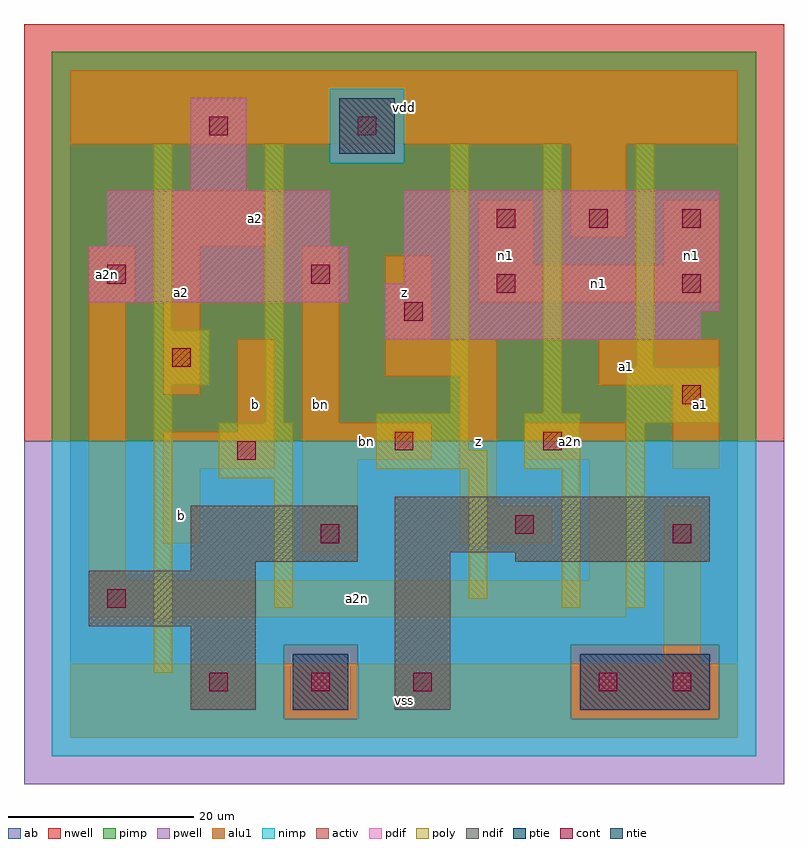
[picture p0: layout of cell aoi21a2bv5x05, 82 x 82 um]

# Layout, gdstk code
import gdstk
lib = gdstk.Library(unit=1e-6, precision=1e-09)
def R(c, l, rs):  # rectangles x0, y0, x1, y1
    for r in rs: c.add(gdstk.rectangle(r[:2], r[2:], *l))
def A(c, l, x, y, w, h, nx, ny, dx, dy):  # array of equal rectangles
    R(c, l, [(x+i*dx, y+j*dy, x+i*dx+w, y+j*dy+h) for i in range(nx) for j in range(ny)])
ndif = (3, 0)
pdif = (4, 0)
ntie = (5, 0)
ptie = (6, 0)
cont = (25, 0)
pwell = (41, 0)
nwell = (42, 0)
activ = (43, 0)
pimp = (44, 0)
nimp = (45, 0)
poly = (46, 0)
alu1 = (49, 0)
ab = (63, 0)

aoi21a2bv5x05 = lib.new_cell('aoi21a2bv5x05')
R(aoi21a2bv5x05, ndif, [(13,3,20,12), (35,3,41,20), (2,12,20,18), (13,18,20,19), (13,19,31,25), (48,19,69,20), (35,20,69,26)])
R(aoi21a2bv5x05, pdif, [(34,43,68,46), (34,46,70,49), (2,47,30,53), (36,49,70,59), (4,53,28,59), (13,59,19,69)])
R(aoi21a2bv5x05, ntie, [(29,63,35,69)])
R(aoi21a2bv5x05, ptie, [(24,3,30,9), (55,3,69,9)])
A(aoi21a2bv5x05, cont, 15, 5, 2, 2, 3, 1, 11, 0)
A(aoi21a2bv5x05, cont, 46, 55, 2, 2, 3, 1, 10, 0)
R(aoi21a2bv5x05, cont, [(57,5,59,7), (65,5,67,7), (4,14,6,16), (27,21,29,23), (65,21,67,23), (48,22,50,24), (18,30,20,32), (35,31,37,33), (51,31,53,33), (66,36,68,38), (11,40,13,42), (36,45,38,47), (46,48,48,50), (66,48,68,50), (4,49,6,51), (26,49,28,51), (15,65,17,67), (31,65,33,67)])
R(aoi21a2bv5x05, pwell, [(-5,-5,77,32)])
R(aoi21a2bv5x05, nwell, [(-5,32,77,77)])
R(aoi21a2bv5x05, activ, [(13,3,20,12), (24,3,30,9), (35,3,41,20), (55,3,69,9), (2,12,20,18), (13,18,20,19), (13,19,31,25), (48,19,69,20), (35,20,69,26), (34,43,68,46), (34,46,70,49), (2,47,30,53), (36,49,70,59), (4,53,28,59), (13,59,19,69), (29,63,35,69)])
R(aoi21a2bv5x05, pimp, [(23,2,31,10), (54,2,70,10), (-2,32,74,62), (-2,62,28,70), (36,62,74,70), (-2,70,74,74)])
R(aoi21a2bv5x05, nimp, [(-2,-2,74,2), (-2,2,23,10), (31,2,54,10), (70,2,74,10), (-2,10,74,32), (28,62,36,70)])
R(aoi21a2bv5x05, poly, [(9,7,11,38), (22,14,24,28), (53,14,55,29), (60,14,62,34), (43,15,45,29), (16,28,24,34), (33,29,45,31), (49,29,55,35), (33,31,43,35), (21,34,23,64), (60,34,70,40), (41,35,43,64), (51,35,53,64), (9,38,15,44), (61,40,63,64), (9,44,11,64)])
R(aoi21a2bv5x05, alu1, [(0,0,72,8), (64,8,68,25), (2,13,60,17), (2,17,6,47), (56,17,60,30), (25,20,31,30), (10,21,14,29), (42,21,52,25), (42,25,46,39), (10,29,22,33), (65,29,70,38), (25,30,39,34), (49,30,60,34), (18,33,22,43), (25,34,29,53), (10,37,14,53), (57,38,70,43), (34,39,46,43), (34,43,39,52), (2,47,7,53), (44,47,70,51), (44,51,50,58), (64,51,70,58), (10,53,22,59), (54,54,60,64), (0,64,72,72)])
R(aoi21a2bv5x05, ab, [(0,0,72,72)])
aoi21a2bv5x05.add(gdstk.Label('a2n', (4,50), layer=49, texttype=0))
aoi21a2bv5x05.add(gdstk.Label('bn', (27,36), layer=49, texttype=0))
aoi21a2bv5x05.add(gdstk.Label('bn', (32,32), layer=49, texttype=0))
aoi21a2bv5x05.add(gdstk.Label('n1', (47,52), layer=49, texttype=0))
aoi21a2bv5x05.add(gdstk.Label('a2n', (31,15), layer=49, texttype=0))
aoi21a2bv5x05.add(gdstk.Label('a2n', (54,32), layer=49, texttype=0))
aoi21a2bv5x05.add(gdstk.Label('n1', (57,49), layer=49, texttype=0))
aoi21a2bv5x05.add(gdstk.Label('n1', (67,52), layer=49, texttype=0))
aoi21a2bv5x05.add(gdstk.Label('b', (12,24), layer=49, texttype=0))
aoi21a2bv5x05.add(gdstk.Label('a2', (12,48), layer=49, texttype=0))
aoi21a2bv5x05.add(gdstk.Label('b', (20,36), layer=49, texttype=0))
aoi21a2bv5x05.add(gdstk.Label('a2', (20,56), layer=49, texttype=0))
aoi21a2bv5x05.add(gdstk.Label('vss', (36,4), layer=49, texttype=0))
aoi21a2bv5x05.add(gdstk.Label('z', (44,32), layer=49, texttype=0))
aoi21a2bv5x05.add(gdstk.Label('z', (36,48), layer=49, texttype=0))
aoi21a2bv5x05.add(gdstk.Label('vdd', (36,68), layer=49, texttype=0))
aoi21a2bv5x05.add(gdstk.Label('a1', (60,40), layer=49, texttype=0))
aoi21a2bv5x05.add(gdstk.Label('a1', (68,36), layer=49, texttype=0))

lib.write_gds('aoi21a2bv5x05.gds')
